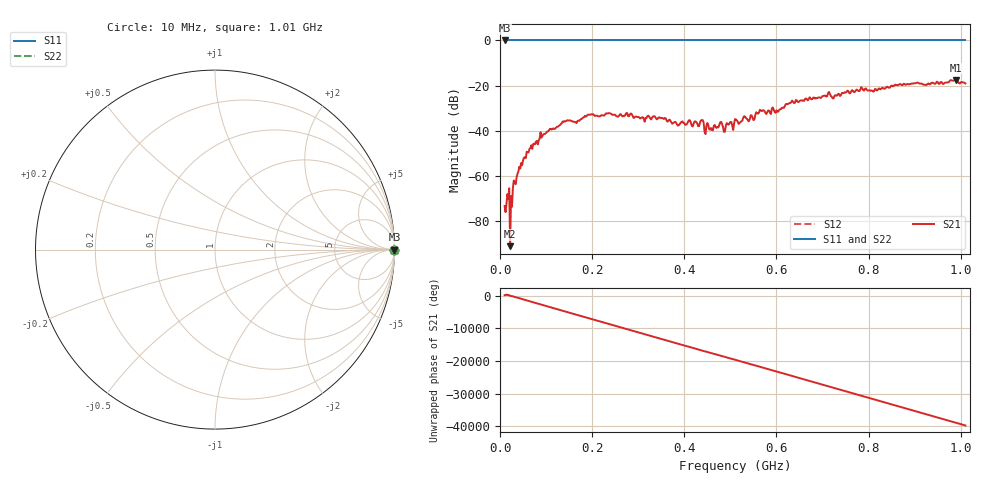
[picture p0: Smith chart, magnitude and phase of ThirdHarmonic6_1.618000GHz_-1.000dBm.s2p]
! 8/16/2025 7:19:21 PM
! C:\ANRITSUVNA\TEMP\TEMP.S2P
! CHANNEL.1
! TR.MEASUREMENT
! RAW.DATA
! RF.CORRECTION.OFF
! AVERAGING.OFF
! IF.BANDWIDTH: 5KHZ
! SWEEPTYPE:  FREQ.SWEEP(Linear)
! Reference Plane Port Info
! PORT:  PORT1  PORT2
! DISTANCE:  0  m  0  m
! TIME:  0  s  0  s
! PHASE.OFFSET:  0  deg.  0  deg.
! LOSS:  0  dB  0  dB
! REF.LOSS:  0  dB  0  dB
! REF.FREQ:  0  Hz  0  Hz
! Power Info
! POWER:  -20  dBm  -20  dBm
! EFF.POWER:  -20  dBm  -20  dBm
! SOURCE.ATTEN:  0  dB  0  dB
! TEST.ATTEN:  0  dB  0  dB
# GHZ S RI R 50.0
! FREQ.GHZ  S11RE  S11IM  S21RE  S21IM  S12RE  S12IM  S22RE  S22IM
!; PortSelection: Port_12
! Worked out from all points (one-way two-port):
!   501 points, 10 MHz to 1.01 GHz, reference 50 ohm
!   highest |S21| = -17.45 dB at 990 MHz (marker M1); lowest = -91.1 dB at 22 MHz (marker M2)
!   lowest |S11| = 0.0 dB at 10 MHz (marker M3)
!   |S11| at or under -10 dB: nowhere
!   |S22| runs from 0.0 to 0.0 dB; largest |S21 - S12| = 1.1
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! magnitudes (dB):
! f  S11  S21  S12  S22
! 10 MHz  0.0  -73.3  0.0  0.0
! 16 MHz  0.0  -68.1  0.0  0.0
! 22 MHz  0.0  -91.1  0.0  0.0
! 42 MHz  0.0  -55.9  0.0  0.0
! 68 MHz  0.0  -46.4  0.0  0.0
! 92 MHz  0.0  -42.3  0.0  0.0
! 136 MHz  0.0  -35.9  0.0  0.0
! 178 MHz  0.0  -34.6  0.0  0.0
! 234 MHz  0.0  -32.4  0.0  0.0
! 344 MHz  0.0  -34.1  0.0  0.0
! 388 MHz  0.0  -37.5  0.0  0.0
! 438 MHz  0.0  -35.3  0.0  0.0
! 458 MHz  0.0  -38.8  0.0  0.0
! 510 MHz  0.0  -34.9  0.0  0.0
! 550 MHz  0.0  -35.3  0.0  0.0
! 568 MHz  0.0  -31.3  0.0  0.0
! 600 MHz  0.0  -31.0  0.0  0.0
! 632 MHz  0.0  -27.4  0.0  0.0
! 678 MHz  0.0  -25.9  0.0  0.0
! 844 MHz  0.0  -21.0  0.0  0.0
! 990 MHz  0.0  -17.4  0.0  0.0
! 1.01 GHz  0.0  -19.0  0.0  0.0
